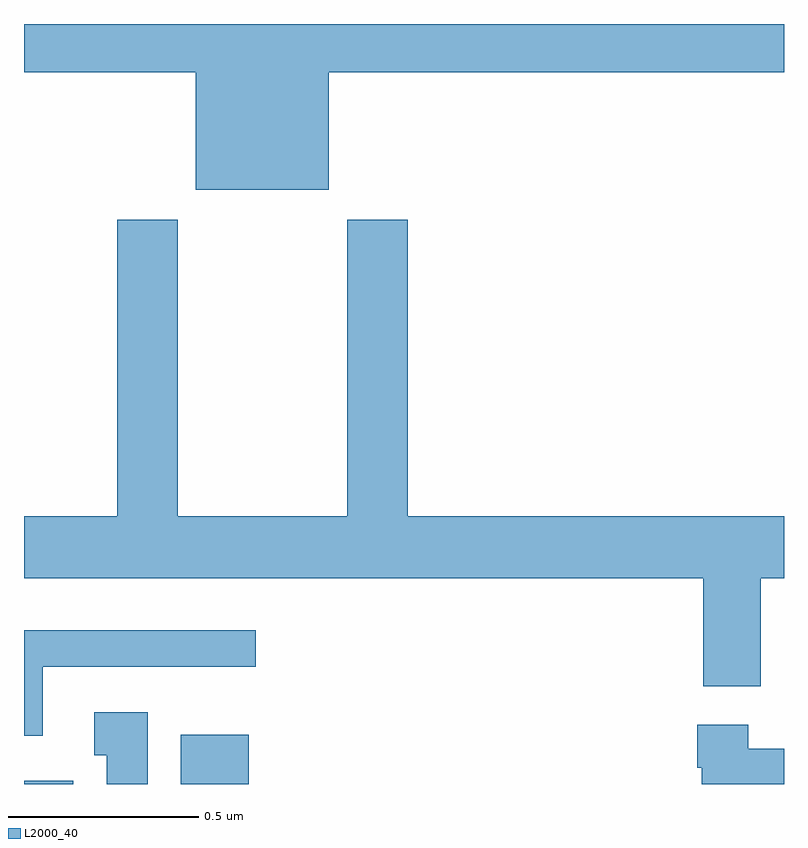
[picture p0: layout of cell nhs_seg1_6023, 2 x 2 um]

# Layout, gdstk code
import gdstk
lib = gdstk.Library(unit=1e-6, precision=1e-09)
def R(c, l, rs):  # rectangles x0, y0, x1, y1
    for r in rs: c.add(gdstk.rectangle(r[:2], r[2:], *l))
def P(c, l, *ps):  # polygons
    for p in ps: c.add(gdstk.Polygon(p, *l))
L2000_40 = (2000, 40)

nhs_seg1_6023 = lib.new_cell('nhs_seg1_6023')
R(nhs_seg1_6023, L2000_40, [(186,543.199,186.13,543.208), (186.413,543.199,186.592,543.328)])
P(nhs_seg1_6023, L2000_40, [(186.802,545.072),(188,545.072),(188,545.199),(186,545.199),(186,545.072),(186.452,545.072),(186.452,544.763),(186.802,544.763)],
  [(187.939,543.74),(188,543.74),(188,543.904),(187.01,543.904),(187.01,544.684),(186.85,544.684),(186.85,543.904),(186.405,543.904),(186.405,544.684),(186.245,544.684),(186.245,543.904),(186,543.904),(186,543.74),(187.787,543.74),(187.787,543.456),(187.939,543.456)],
  [(186.049,543.507),(186.61,543.507),(186.61,543.604),(186,543.604),(186,543.326),(186.049,543.326)],
  [(186.325,543.388),(186.185,543.388),(186.185,543.275),(186.218,543.275),(186.218,543.199),(186.325,543.199)],
  [(188,543.292),(187.906,543.292),(187.906,543.355),(187.772,543.355),(187.772,543.242),(187.784,543.242),(187.784,543.199),(188,543.199)])

lib.write_gds('nhs_seg1_6023.gds')
